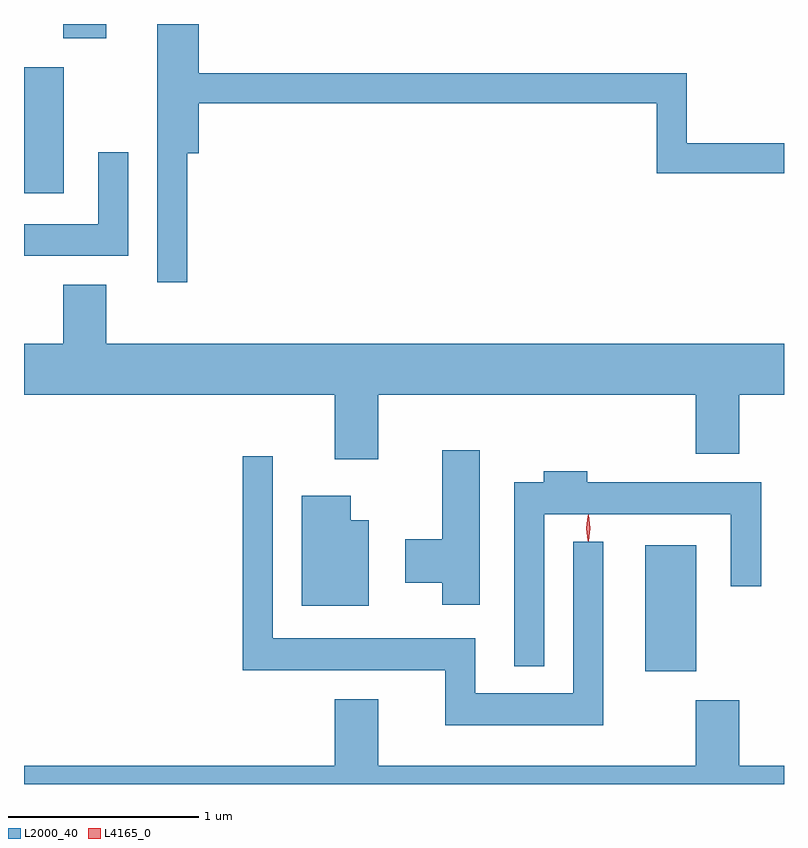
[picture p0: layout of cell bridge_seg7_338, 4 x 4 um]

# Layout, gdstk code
import gdstk
lib = gdstk.Library(unit=1e-6, precision=1e-09)
def R(c, l, rs):  # rectangles x0, y0, x1, y1
    for r in rs: c.add(gdstk.rectangle(r[:2], r[2:], *l))
def P(c, l, *ps):  # polygons
    for p in ps: c.add(gdstk.Polygon(p, *l))
L2000_40 = (2000, 40)
L4165_0 = (4165, 0)

bridge_seg7_338 = lib.new_cell('bridge_seg7_338')
R(bridge_seg7_338, L2000_40, [(1158.016,1763.921,1158.284,1764.584), (1154.745,1766.436,1154.954,1767.099), (1154.951,1767.251,1155.179,1767.327)])
P(bridge_seg7_338, L2000_40, [(1155.604,1766.646),(1155.664,1766.646),(1155.664,1766.911),(1158.076,1766.911),(1158.076,1766.541),(1158.745,1766.541),(1158.745,1766.699),(1158.234,1766.699),(1158.234,1767.069),(1155.664,1767.069),(1155.664,1767.327),(1155.446,1767.327),(1155.446,1765.968),(1155.604,1765.968)],
  [(1155.294,1766.653),(1155.136,1766.653),(1155.136,1766.274),(1154.745,1766.274),(1154.745,1766.106),(1155.294,1766.106)],
  [(1156.609,1765.376),(1158.281,1765.376),(1158.281,1765.066),(1158.509,1765.066),(1158.509,1765.376),(1158.745,1765.376),(1158.745,1765.644),(1155.179,1765.644),(1155.179,1765.954),(1154.951,1765.954),(1154.951,1765.644),(1154.745,1765.644),(1154.745,1765.376),(1156.381,1765.376),(1156.381,1765.036),(1156.609,1765.036)],
  [(1157.144,1765.084),(1156.946,1765.084),(1156.946,1764.614),(1156.751,1764.614),(1156.751,1764.386),(1156.946,1764.386),(1156.946,1764.271),(1157.144,1764.271)],
  [(1157.794,1764.603),(1157.636,1764.603),(1157.636,1763.804),(1157.119,1763.804),(1157.119,1764.094),(1156.054,1764.094),(1156.054,1765.053),(1155.896,1765.053),(1155.896,1763.926),(1156.961,1763.926),(1156.961,1763.636),(1157.794,1763.636)],
  [(1157.484,1764.746),(1158.466,1764.746),(1158.466,1764.368),(1158.624,1764.368),(1158.624,1764.914),(1157.709,1764.914),(1157.709,1764.974),(1157.481,1764.974),(1157.481,1764.914),(1157.326,1764.914),(1157.326,1763.948),(1157.484,1763.948)],
  [(1156.559,1764.714),(1156.464,1764.714),(1156.464,1764.844),(1156.206,1764.844),(1156.206,1764.266),(1156.559,1764.266)],
  [(1158.745,1763.424),(1158.509,1763.424),(1158.509,1763.769),(1158.281,1763.769),(1158.281,1763.424),(1156.609,1763.424),(1156.609,1763.774),(1156.381,1763.774),(1156.381,1763.424),(1154.745,1763.424),(1154.745,1763.327),(1158.745,1763.327)])
P(bridge_seg7_338, L4165_0, [(1157.713,1764.607),(1157.703,1764.674),(1157.712,1764.74),(1157.713,1764.74),(1157.714,1764.74),(1157.723,1764.674),(1157.714,1764.607),(1157.714,1764.607)],
  [(1157.716,1764.604),(1157.716,1764.604),(1157.706,1764.674),(1157.716,1764.743),(1157.716,1764.743),(1157.717,1764.743),(1157.726,1764.674),(1157.717,1764.604)])

lib.write_gds('bridge_seg7_338.gds')
